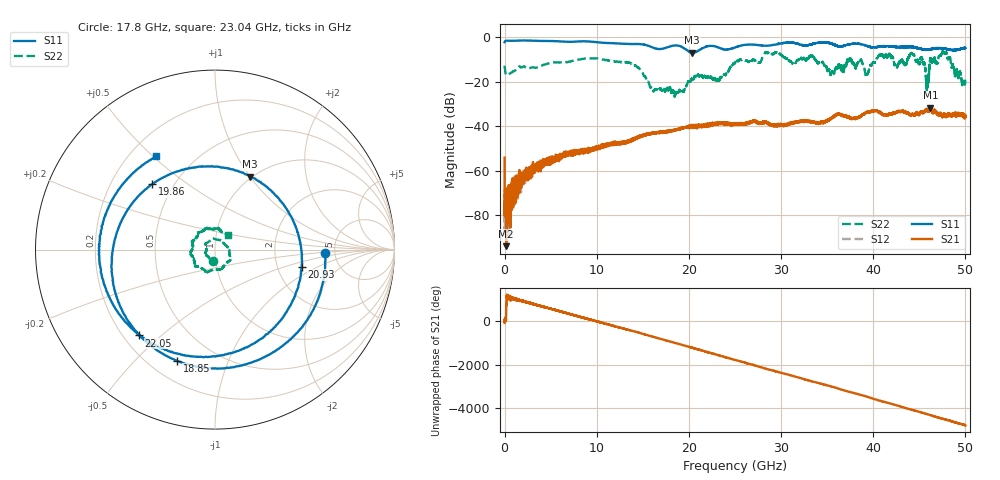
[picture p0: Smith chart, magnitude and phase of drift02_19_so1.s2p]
!Created with skrf (http://scikit-rf.org).
# Hz S RI R 50.0
!freq ReS11 ImS11 ReS21 ImS21 ReS12 ImS12 ReS22 ImS22
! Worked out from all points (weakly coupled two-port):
!   10001 points, 300 kHz to 50 GHz, reference 50 ohm
!   highest |S21| = -31.66 dB at 46.21 GHz (marker M1); lowest = -94.1 dB at 180.3 MHz (marker M2)
!   lowest |S11| = -6.9 dB at 20.36 GHz (marker M3), VSWR 2.64, Z = 49 + j50 ohm
!   |S11| at or under -10 dB: nowhere
!   |S22| runs from -26.7 to -6.2 dB; largest |S21 - S12| = 0.003
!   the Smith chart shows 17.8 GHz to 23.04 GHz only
!   S11 on the Smith chart (normalised r, x): 17.8 GHz: 4.16, -0.25; 18.85 GHz: 0.31, -0.67; 19.86 GHz: 0.38, +0.37; 20.93 GHz: 2.74, -0.70; 22.05 GHz: 0.26, -0.42; 23.04 GHz: 0.31, +0.51
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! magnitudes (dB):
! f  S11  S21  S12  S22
! 300 kHz  -2.1  -54.2  -68.3  -12.7
! 180.3 MHz  -1.4  -94.1  -79.2  -17.0
! 2.95 GHz  -1.4  -58.5  -60.1  -13.5
! 8.335 GHz  -1.7  -52.0  -52.1  -9.7
! 13.71 GHz  -2.9  -46.1  -46.1  -11.6
! 16.67 GHz  -5.2  -43.0  -43.0  -23.5
! 17.8 GHz  -4.2  -42.1  -42.4  -23.5
! 18.85 GHz  -3.7  -41.3  -41.4  -24.8
! 19.86 GHz  -5.9  -40.4  -40.4  -20.3
! 20.36 GHz  -6.9  -40.1  -40.2  -19.0
! 20.93 GHz  -6.2  -40.3  -39.9  -17.1
! 22.05 GHz  -3.9  -39.4  -39.5  -17.6
! 23.04 GHz  -4.2  -38.8  -38.9  -19.1
! 25 GHz  -4.5  -39.3  -38.9  -11.4
! 33.34 GHz  -3.0  -38.1  -37.9  -8.4
! 39.32 GHz  -3.8  -33.8  -33.8  -17.1
! 41.67 GHz  -4.0  -34.6  -34.7  -7.9
! 44.26 GHz  -4.2  -34.4  -34.6  -7.4
! 45.85 GHz  -5.4  -33.1  -33.1  -19.9
! 46.21 GHz  -5.3  -31.7  -31.6  -8.8
! 47.75 GHz  -5.0  -34.5  -34.1  -6.9
! 50 GHz  -4.7  -35.5  -36.0  -19.5
